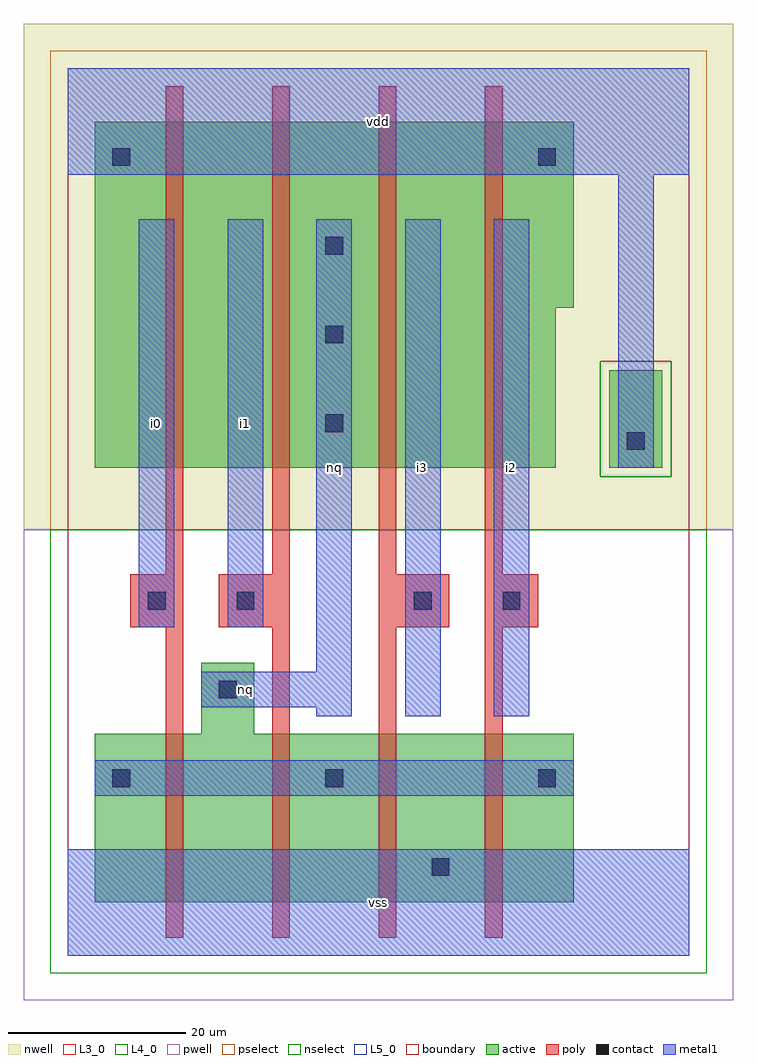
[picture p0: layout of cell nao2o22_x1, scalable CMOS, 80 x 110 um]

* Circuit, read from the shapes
.subckt nao2o22_x1 i0 i1 i2 i3 nq vdd vss
M1 nq i0 n1 VSUBS nfet w=19u l=2u
M2 n1 i1 nq VSUBS nfet w=19u l=2u
M3 vss i3 n1 VSUBS nfet w=19u l=2u
M4 n1 i2 vss VSUBS nfet w=19u l=2u
M5 n2 i0 vdd vdd pfet w=39u l=2u
M6 nq i1 n2 vdd pfet w=39u l=2u
M7 n3 i3 nq vdd pfet w=39u l=2u
M8 vdd i2 n3 vdd pfet w=39u l=2u
.ends

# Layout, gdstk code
import gdstk
lib = gdstk.Library(unit=1e-6, precision=1e-09)
def R(c, l, rs):  # rectangles x0, y0, x1, y1
    for r in rs: c.add(gdstk.rectangle(r[:2], r[2:], *l))
def A(c, l, x, y, w, h, nx, ny, dx, dy):  # array of equal rectangles
    R(c, l, [(x+i*dx, y+j*dy, x+i*dx+w, y+j*dy+h) for i in range(nx) for j in range(ny)])
L3_0 = (3, 0)
L4_0 = (4, 0)
L5_0 = (5, 0)
contact = (25, 0)
pwell = (41, 0)
nwell = (42, 0)
active = (43, 0)
pselect = (44, 0)
nselect = (45, 0)
poly = (46, 0)
metal1 = (49, 0)
boundary = (63, 0)

nao2o22_x1 = lib.new_cell('nao2o22_x1')
R(nao2o22_x1, L3_0, [(3,6,57,25), (15,25,21,33)])
R(nao2o22_x1, L4_0, [(3,55,55,73), (3,73,57,94)])
R(nao2o22_x1, L5_0, [(61,55,67,66)])
A(nao2o22_x1, contact, 5, 19, 2, 2, 3, 1, 24, 0)
A(nao2o22_x1, contact, 29, 59, 2, 2, 1, 3, 0, 10)
R(nao2o22_x1, contact, [(41,9,43,11), (17,29,19,31), (9,39,11,41), (19,39,21,41), (39,39,41,41), (49,39,51,41), (63,57,65,59), (5,89,7,91), (53,89,55,91)])
R(nao2o22_x1, pwell, [(-5,-5,75,48)])
R(nao2o22_x1, nwell, [(-5,48,75,105)])
R(nao2o22_x1, active, [(3,6,57,25), (15,25,21,33), (3,55,55,73), (61,55,67,66), (3,73,57,94)])
R(nao2o22_x1, pselect, [(-2,48,72,54), (-2,54,60,67), (68,54,72,67), (-2,67,72,102)])
R(nao2o22_x1, nselect, [(-2,-2,72,48), (60,54,68,67)])
A(nao2o22_x1, poly, 11, 2, 2, 35, 4, 1, 12, 0)
A(nao2o22_x1, poly, 11, 43, 2, 55, 4, 1, 12, 0)
R(nao2o22_x1, poly, [(7,37,13,43), (17,37,25,43), (35,37,43,43), (47,37,53,43)])
R(nao2o22_x1, metal1, [(0,0,70,12), (3,18,57,22), (28,27,32,28), (38,27,42,83), (48,27,52,83), (15,28,32,32), (28,32,32,83), (8,37,12,83), (18,37,22,83), (62,55,66,88), (0,88,70,100)])
R(nao2o22_x1, boundary, [(0,0,70,100)])
nao2o22_x1.add(gdstk.Label('i0', (10,60), layer=49, texttype=0))
nao2o22_x1.add(gdstk.Label('nq', (20,30), layer=49, texttype=0))
nao2o22_x1.add(gdstk.Label('i1', (20,60), layer=49, texttype=0))
nao2o22_x1.add(gdstk.Label('nq', (30,55), layer=49, texttype=0))
nao2o22_x1.add(gdstk.Label('vss', (35,6), layer=49, texttype=0))
nao2o22_x1.add(gdstk.Label('i3', (40,55), layer=49, texttype=0))
nao2o22_x1.add(gdstk.Label('i2', (50,55), layer=49, texttype=0))
nao2o22_x1.add(gdstk.Label('vdd', (35,94), layer=49, texttype=0))

lib.write_gds('nao2o22_x1.gds')
